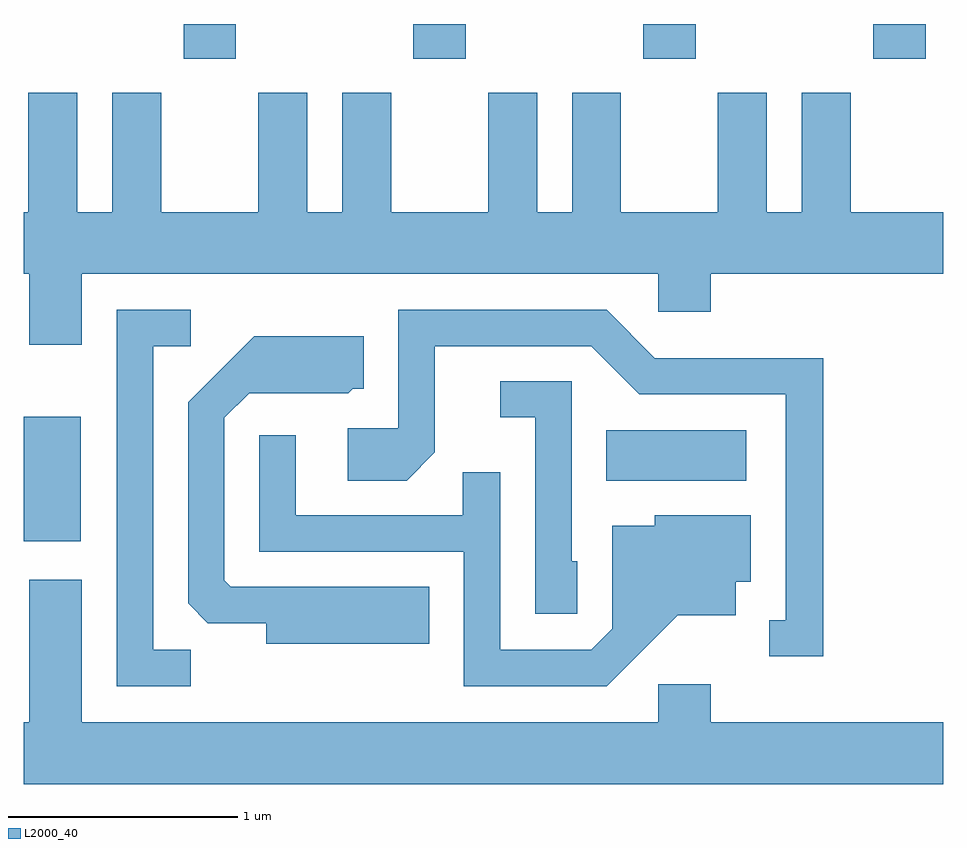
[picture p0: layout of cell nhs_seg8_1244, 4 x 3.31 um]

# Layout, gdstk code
import gdstk
lib = gdstk.Library(unit=1e-6, precision=1e-09)
def R(c, l, rs):  # rectangles x0, y0, x1, y1
    for r in rs: c.add(gdstk.rectangle(r[:2], r[2:], *l))
def A(c, l, x, y, w, h, nx, ny, dx, dy):  # array of equal rectangles
    R(c, l, [(x+i*dx, y+j*dy, x+i*dx+w, y+j*dy+h) for i in range(nx) for j in range(ny)])
def P(c, l, *ps):  # polygons
    for p in ps: c.add(gdstk.Polygon(p, *l))
L2000_40 = (2000, 40)

nhs_seg8_1244 = lib.new_cell('nhs_seg8_1244')
A(nhs_seg8_1244, L2000_40, 222.306, 1886.191, 0.228, 0.151, 4, 1, 1, 0)
R(nhs_seg8_1244, L2000_40, [(221.611,1884.091,221.859,1884.634), (224.146,1884.356,224.754,1884.574)])
P(nhs_seg8_1244, L2000_40, [(221.631,1885.524),(221.611,1885.524),(221.611,1885.256),(221.636,1885.256),(221.636,1884.946),(221.864,1884.946),(221.864,1885.256),(224.371,1885.256),(224.371,1885.091),(224.599,1885.091),(224.599,1885.256),(225.611,1885.256),(225.611,1885.524),(225.209,1885.524),(225.209,1886.044),(224.996,1886.044),(224.996,1885.524),(224.844,1885.524),(224.844,1886.044),(224.631,1886.044),(224.631,1885.524),(224.209,1885.524),(224.209,1886.044),(223.996,1886.044),(223.996,1885.524),(223.844,1885.524),(223.844,1886.044),(223.631,1886.044),(223.631,1885.524),(223.209,1885.524),(223.209,1886.044),(222.996,1886.044),(222.996,1885.524),(222.844,1885.524),(222.844,1886.044),(222.631,1886.044),(222.631,1885.524),(222.209,1885.524),(222.209,1886.044),(221.996,1886.044),(221.996,1885.524),(221.844,1885.524),(221.844,1886.044),(221.631,1886.044)],
  [(225.089,1884.889),(224.357,1884.889),(224.147,1885.099),(223.241,1885.099),(223.241,1884.584),(223.021,1884.584),(223.021,1884.356),(223.277,1884.356),(223.399,1884.479),(223.399,1884.941),(224.079,1884.941),(224.289,1884.731),(224.926,1884.731),(224.926,1883.749),(224.853,1883.749),(224.853,1883.591),(225.089,1883.591)],
  [(222.338,1883.619),(222.174,1883.619),(222.174,1884.941),(222.338,1884.941),(222.338,1885.099),(222.016,1885.099),(222.016,1883.461),(222.338,1883.461)],
  [(223.374,1883.894),(222.512,1883.894),(222.484,1883.922),(222.484,1884.629),(222.592,1884.736),(223.022,1884.736),(223.042,1884.756),(223.089,1884.756),(223.089,1884.984),(222.614,1884.984),(222.326,1884.697),(222.326,1883.822),(222.412,1883.736),(222.666,1883.736),(222.666,1883.646),(223.374,1883.646)],
  [(224.019,1884.004),(223.994,1884.004),(223.994,1884.789),(223.683,1884.789),(223.683,1884.631),(223.836,1884.631),(223.836,1883.776),(224.019,1883.776)],
  [(224.457,1883.771),(224.709,1883.771),(224.709,1883.916),(224.774,1883.916),(224.774,1884.204),(224.356,1884.204),(224.356,1884.159),(224.171,1884.159),(224.171,1883.712),(224.079,1883.619),(223.684,1883.619),(223.684,1884.393),(223.521,1884.393),(223.521,1884.204),(222.794,1884.204),(222.794,1884.553),(222.636,1884.553),(222.636,1884.046),(223.526,1884.046),(223.526,1883.461),(224.147,1883.461)],
  [(225.611,1883.304),(224.599,1883.304),(224.599,1883.469),(224.371,1883.469),(224.371,1883.304),(221.864,1883.304),(221.864,1883.924),(221.636,1883.924),(221.636,1883.304),(221.611,1883.304),(221.611,1883.036),(225.611,1883.036)])

lib.write_gds('nhs_seg8_1244.gds')
